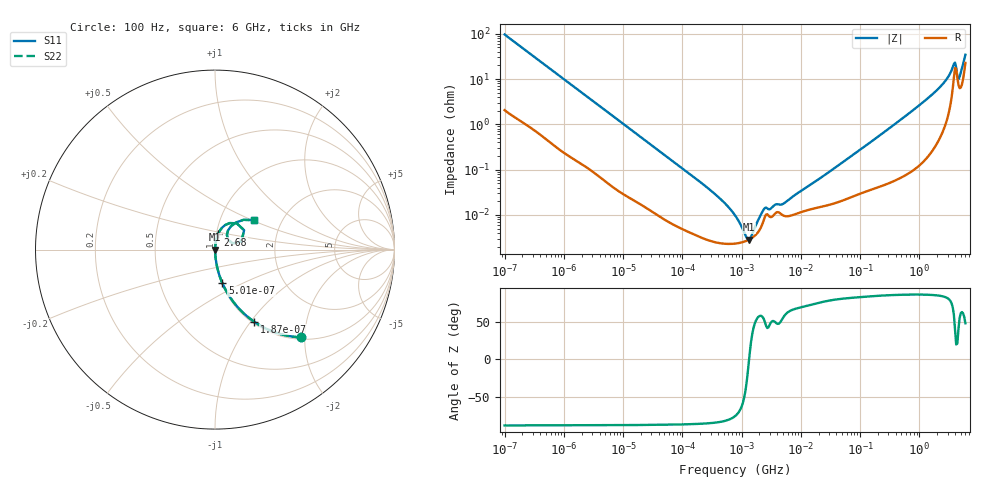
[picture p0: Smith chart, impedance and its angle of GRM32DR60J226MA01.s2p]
!Murata Part Number: GRM32DR60J226MA01
!These Parameters are Measured in Series Mode Connection
!Data Generated on Mar 30, 2021
!  o--ll--o
!Port1  Port2
!  o------o
!Operation Temp=25[degC], DC Bias Voltage=0[V]
!Freq. Start=100[Hz] Stop=6[GHz] 401[Steps]
# Hz S RI R 50
!Freq.(Hz) S11(Real) S11(Imag) S21(Real) S21(Imag) S12(Real) S12(Imag) S22(Real) S22(Imag)
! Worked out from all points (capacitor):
!   401 points, 100 Hz to 6 GHz, reference 50 ohm
!   read as one part in series: C = 16.5 uF near 109 Hz
!   lowest |Z| = 2.84 mohm at 1.326 MHz (marker M1)
!   series resonance near 1.338 MHz, so ESL is about 860 pH
!   S11 on the Smith chart (normalised r, x): 100 Hz: 1.04, -1.92; 187 Hz: 1.02, -1.03; 501 Hz: 1.01, -0.39; 2.68 GHz: 1.02, +0.17; 6 GHz: 1.45, +0.51
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100  0.4806 -0.489  0.5194 0.489  0.5194 0.489  0.4806 -0.489
187  0.2165 -0.4007  0.7835 0.4007  0.7835 0.4007  0.2165 -0.4007
306  0.0978 -0.2853  0.9022 0.2853  0.9022 0.2853  0.0978 -0.2853
501  0.0413 -0.1873  0.9587 0.1873  0.9587 0.1873  0.0413 -0.1873
2008  0.0038 -0.0497  0.9962 0.0497  0.9962 0.0497  0.0038 -0.0497
40335  0.000101 -0.00262  0.9999 0.00262  0.9999 0.00262  0.000101 -0.00262
302498  2.67e-05 -0.000345  1 0.000345  1 0.000345  2.67e-05 -0.000345
774597  2.34e-05 -9.58e-05  1 9.58e-05  1 9.58e-05  2.34e-05 -9.58e-05
1325623  2.84e-05 -1.6e-06  1 1.6e-06  1 1.6e-06  2.84e-05 -1.6e-06
1983483  4.53e-05 7.31e-05  1 -7.31e-05  1 -7.31e-05  4.53e-05 7.31e-05
2481164  9.16e-05 0.00011  0.9999 -0.00011  0.9999 -0.00011  9.16e-05 0.00011
2967816  9.19e-05 9.61e-05  0.9999 -9.61e-05  0.9999 -9.61e-05  9.19e-05 9.61e-05
5079039  9.7e-05 0.000148  0.9999 -0.000148  0.9999 -0.000148  9.7e-05 0.000148
1.555665e7  0.000136 0.000475  0.9999 -0.000475  0.9999 -0.000475  0.000136 0.000475
3.124326e8  0.000574 0.00818  0.9994 -0.00818  0.9994 -0.00818  0.000574 0.00818
1.369159e9  0.00322 0.0367  0.9968 -0.0367  0.9968 -0.0367  0.00322 0.0367
2.679998e9  0.0159 0.0843  0.9841 -0.0843  0.9841 -0.0843  0.0159 0.0843
3.352442e9  0.0426 0.1252  0.9574 -0.1252  0.9574 -0.1252  0.0426 0.1252
3.8344e9  0.1206 0.1469  0.8794 -0.1469  0.8794 -0.1469  0.1206 0.1469
4.586474e9  0.0723 0.0557  0.9277 -0.0557  0.9277 -0.0557  0.0723 0.0557
4.796499e9  0.0663 0.0818  0.9337 -0.0818  0.9337 -0.0818  0.0663 0.0818
6e9  0.219 0.1638  0.781 -0.1638  0.781 -0.1638  0.219 0.1638
